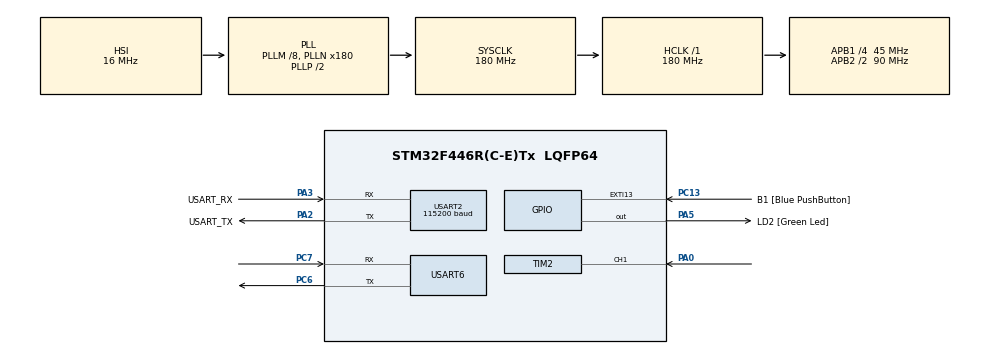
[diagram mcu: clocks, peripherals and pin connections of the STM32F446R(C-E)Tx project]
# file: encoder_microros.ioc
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Dma.Request0=USART6_RX
Dma.Request1=USART6_TX
Dma.USART6_RX.0.Direction=DMA_PERIPH_TO_MEMORY
Dma.USART6_RX.0.FIFOMode=DMA_FIFOMODE_DISABLE
Dma.USART6_RX.0.Instance=DMA2_Stream1
Dma.USART6_RX.0.MemDataAlignment=DMA_MDATAALIGN_BYTE
Dma.USART6_RX.0.MemInc=DMA_MINC_ENABLE
Dma.USART6_RX.0.Mode=DMA_NORMAL
Dma.USART6_RX.0.PeriphDataAlignment=DMA_PDATAALIGN_BYTE
Dma.USART6_RX.0.PeriphInc=DMA_PINC_DISABLE
Dma.USART6_RX.0.Priority=DMA_PRIORITY_VERY_HIGH
Dma.USART6_TX.1.Direction=DMA_MEMORY_TO_PERIPH
Dma.USART6_TX.1.FIFOMode=DMA_FIFOMODE_DISABLE
Dma.USART6_TX.1.Instance=DMA2_Stream6
Dma.USART6_TX.1.MemDataAlignment=DMA_MDATAALIGN_BYTE
Dma.USART6_TX.1.MemInc=DMA_MINC_ENABLE
Dma.USART6_TX.1.Mode=DMA_NORMAL
Dma.USART6_TX.1.PeriphDataAlignment=DMA_PDATAALIGN_BYTE
Dma.USART6_TX.1.PeriphInc=DMA_PINC_DISABLE
Dma.USART6_TX.1.Priority=DMA_PRIORITY_VERY_HIGH
FREERTOS.Tasks01=defaultTask,24,8000,StartDefaultTask,Default,NULL,Dynamic,NULL,NULL
FREERTOS.configTOTAL_HEAP_SIZE=40960
Mcu.Family=STM32F4
Mcu.Name=STM32F446R(C-E)Tx
Mcu.Package=LQFP64
NVIC.DMA2_Stream1_IRQn=true\:5\:0\:false\:false\:true\:true\:false\:true\:true
NVIC.DMA2_Stream6_IRQn=true\:5\:0\:false\:false\:true\:true\:false\:true\:true
NVIC.PriorityGroup=NVIC_PRIORITYGROUP_4
NVIC.TIM6_DAC_IRQn=true\:15\:0\:false\:false\:true\:false\:false\:true\:true
NVIC.TimeBase=TIM6_DAC_IRQn
NVIC.TimeBaseIP=TIM6
NVIC.USART6_IRQn=true\:5\:0\:false\:false\:true\:true\:true\:true\:true
PA0-WKUP.GPIO_PuPd=GPIO_PULLUP
PA0-WKUP.Signal=S_TIM2_CH1_ETR
PA13.GPIO_Label=TMS
PA13.Mode=Serial_Wire
PA13.Signal=SYS_JTMS-SWDIO
PA14.GPIO_Label=TCK
PA14.Mode=Serial_Wire
PA14.Signal=SYS_JTCK-SWCLK
PA2.GPIO_Label=USART_TX
PA2.Mode=Asynchronous
PA2.Signal=USART2_TX
PA3.GPIO_Label=USART_RX
PA3.Mode=Asynchronous
PA3.Signal=USART2_RX
PA5.GPIO_Label=LD2 [Green Led]
PA5.Signal=GPIO_Output
PB1.Signal=S_TIM3_CH4
PB3.GPIO_Label=SWO
PB3.Signal=SYS_JTDO-SWO
PC13.GPIO_Label=B1 [Blue PushButton]
PC13.GPIO_ModeDefaultEXTI=GPIO_MODE_IT_FALLING
PC13.Signal=GPXTI13
PC14-OSC32_IN.Mode=LSE-External-Oscillator
PC14-OSC32_IN.Signal=RCC_OSC32_IN
PC15-OSC32_OUT.Mode=LSE-External-Oscillator
PC15-OSC32_OUT.Signal=RCC_OSC32_OUT
PC6.Mode=Asynchronous
PC6.Signal=USART6_TX
PC7.Mode=Asynchronous
PC7.Signal=USART6_RX
PH0-OSC_IN.Mode=HSE-External-Oscillator
PH0-OSC_IN.Signal=RCC_OSC_IN
PH1-OSC_OUT.Mode=HSE-External-Oscillator
PH1-OSC_OUT.Signal=RCC_OSC_OUT
ProjectManager.HeapSize=0x200
ProjectManager.StackSize=0x400
ProjectManager.TargetToolchain=STM32CubeIDE
RCC.48MHZClocksFreq_Value=84000000
RCC.AHBFreq_Value=180000000
RCC.APB1CLKDivider=RCC_HCLK_DIV4
RCC.APB1Freq_Value=45000000
RCC.APB1TimFreq_Value=90000000
RCC.APB2CLKDivider=RCC_HCLK_DIV2
RCC.APB2Freq_Value=90000000
RCC.APB2TimFreq_Value=180000000
RCC.CortexFreq_Value=180000000
RCC.FLatency-AdvancedSettings=FLASH_LATENCY_5
RCC.HCLKFreq_Value=180000000
RCC.HSE_VALUE=8000000
RCC.HSI_VALUE=16000000
RCC.PLLM=8
RCC.PLLN=180
RCC.SYSCLKFreq_VALUE=180000000
RCC.SYSCLKSource=RCC_SYSCLKSOURCE_PLLCLK
RCC.USBFreq_Value=180000000
RCC.VCOOutputFreq_Value=360000000
SH.S_TIM2_CH1_ETR.0=TIM2_CH1,TriggerSource_TI1FP1
SH.S_TIM3_CH4.0=TIM3_CH4
TIM2.AutoReloadPreload=TIM_AUTORELOAD_PRELOAD_ENABLE
USART2.BaudRate=115200
USART2.VirtualMode=VM_ASYNC
USART6.VirtualMode=VM_ASYNC
VP_FREERTOS_VS_CMSIS_V2.Mode=CMSIS_V2
VP_SYS_VS_tim6.Mode=TIM6
VP_TIM2_VS_ControllerModeClock.Mode=Clock Mode
board=NUCLEO-F446RE

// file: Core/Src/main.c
/* USER CODE BEGIN Header */
/**
  ******************************************************************************
  * @file           : main.c
  * @brief          : ENCODER SPEED PUBLISHER (TIM2 - 32 BIT + UART6)
  ******************************************************************************
  */
/* USER CODE END Header */
#include "main.h"
#include "cmsis_os.h"

/* USER CODE BEGIN Includes */
#include <rcl/rcl.h>
#include <rcl/error_handling.h>
#include <rclc/rclc.h>
#include <rclc/executor.h>
#include <uxr/client/transport.h>
#include <rmw_microxrcedds_c/config.h>
#include <rmw_microros/rmw_microros.h>

#include <std_msgs/msg/float32.h>

#include <stdio.h>
#include <string.h>
#include <stdlib.h>
/* USER CODE END Includes */

/* USER CODE BEGIN PD */

#define RCCHECK(fn) { rcl_ret_t temp_rc = fn; if((temp_rc != RCL_RET_OK)){ \
    HAL_GPIO_TogglePin(GPIOA, GPIO_PIN_5); \
}}
/* USER CODE END PD */

TIM_HandleTypeDef htim2;

UART_HandleTypeDef huart2;
UART_HandleTypeDef huart6;
DMA_HandleTypeDef hdma_usart6_rx;
DMA_HandleTypeDef hdma_usart6_tx;

/* Definitions for defaultTask */
osThreadId_t defaultTaskHandle;
const osThreadAttr_t defaultTask_attributes = {
  .name = "defaultTask",
  .stack_size = 3000 * 4,
  .priority = (osPriority_t) osPriorityNormal,
};
/* USER CODE BEGIN PV */
// --- ENCODER DEĞİŞKENLERİ (32-Bit) ---
uint32_t onceki_sayac = 0;
uint32_t suanki_sayac = 0;
uint32_t fark = 0;

#define DISK_DELIK_SAYISI 20

#define FILTRE_BOYUTU 5
float hiz_gecmisi[FILTRE_BOYUTU] = {0};
int filtre_indeksi = 0;

uint32_t last_measure_time = 0;

rcl_publisher_t publisher_speed;
std_msgs__msg__Float32 msg_speed;
/* USER CODE END PV */

void SystemClock_Config(void);
static void MX_GPIO_Init(void);
static void MX_DMA_Init(void);
static void MX_USART2_UART_Init(void);
static void MX_USART6_UART_Init(void);
static void MX_TIM2_Init(void);
void StartDefaultTask(void *argument);

/* USER CODE BEGIN PFP */
bool cubemx_transport_open(struct uxrCustomTransport * transport);
bool cubemx_transport_close(struct uxrCustomTransport * transport);
size_t cubemx_transport_write(struct uxrCustomTransport* transport, const uint8_t * buf, size_t len, uint8_t * err);
size_t cubemx_transport_read(struct uxrCustomTransport* transport, uint8_t* buf, size_t len, int timeout, uint8_t* err);

void * microros_allocate(size_t size, void * state);
void microros_deallocate(void * pointer, void * state);
void * microros_reallocate(void * pointer, size_t size, void * state);
void * microros_zero_allocate(size_t number_of_elements, size_t size_of_element, void * state);
/* USER CODE END PFP */

/* USER CODE BEGIN 0 */
void HAL_UART_ErrorCallback(UART_HandleTypeDef *huart)
{
    if (huart->Instance == USART2 || huart->Instance == USART6)
    {
        __HAL_UART_CLEAR_OREFLAG(huart);
        __HAL_UART_CLEAR_NEFLAG(huart);
        __HAL_UART_CLEAR_FEFLAG(huart);
    }
}
/* USER CODE END 0 */

int main(void)
{

  /* MCU Configuration--------------------------------------------------------*/
  HAL_Init();

  /* Configure the system clock */
  SystemClock_Config();

  /* Initialize all configured peripherals */
  MX_GPIO_Init();
  MX_DMA_Init();
  MX_USART2_UART_Init();
  MX_USART6_UART_Init();
  MX_TIM2_Init(); // <-- TIM2 Başlatılıyor

  /* Init scheduler */
  osKernelInitialize();

  /* Create the thread(s) */
  defaultTaskHandle = osThreadNew(StartDefaultTask, NULL, &defaultTask_attributes);

  /* Start scheduler */
  osKernelStart();

  /* We should never get here as control is now taken by the scheduler */
  while (1)
  {
  }
}

void SystemClock_Config(void)
{
  RCC_OscInitTypeDef RCC_OscInitStruct = {0};
  RCC_ClkInitTypeDef RCC_ClkInitStruct = {0};

  /** Configure the main internal regulator output voltage */
  __HAL_RCC_PWR_CLK_ENABLE();
  __HAL_PWR_VOLTAGESCALING_CONFIG(PWR_REGULATOR_VOLTAGE_SCALE1);

  /** Initializes the RCC Oscillators */
  RCC_OscInitStruct.OscillatorType = RCC_OSCILLATORTYPE_HSI;
  RCC_OscInitStruct.HSIState = RCC_HSI_ON;
  RCC_OscInitStruct.HSICalibrationValue = RCC_HSICALIBRATION_DEFAULT;
  RCC_OscInitStruct.PLL.PLLState = RCC_PLL_ON;
  RCC_OscInitStruct.PLL.PLLSource = RCC_PLLSOURCE_HSI;
  RCC_OscInitStruct.PLL.PLLM = 8;
  RCC_OscInitStruct.PLL.PLLN = 180;
  RCC_OscInitStruct.PLL.PLLP = RCC_PLLP_DIV2;
  RCC_OscInitStruct.PLL.PLLQ = 2;
  RCC_OscInitStruct.PLL.PLLR = 2;
  if (HAL_RCC_OscConfig(&RCC_OscInitStruct) != HAL_OK)
  {
    Error_Handler();
  }

  /** Activate the Over-Drive mode */
  if (HAL_PWREx_EnableOverDrive() != HAL_OK)
  {
    Error_Handler();
  }

  /** Initializes the CPU, AHB and APB buses clocks */
  RCC_ClkInitStruct.ClockType = RCC_CLOCKTYPE_HCLK|RCC_CLOCKTYPE_SYSCLK
                              |RCC_CLOCKTYPE_PCLK1|RCC_CLOCKTYPE_PCLK2;
  RCC_ClkInitStruct.SYSCLKSource = RCC_SYSCLKSOURCE_PLLCLK;
  RCC_ClkInitStruct.AHBCLKDivider = RCC_SYSCLK_DIV1;
  RCC_ClkInitStruct.APB1CLKDivider = RCC_HCLK_DIV4;
  RCC_ClkInitStruct.APB2CLKDivider = RCC_HCLK_DIV2;

  if (HAL_RCC_ClockConfig(&RCC_ClkInitStruct, FLASH_LATENCY_5) != HAL_OK)
  {
    Error_Handler();
  }
}

static void MX_TIM2_Init(void)
{
  TIM_ClockConfigTypeDef sClockSourceConfig = {0};
  TIM_MasterConfigTypeDef sMasterConfig = {0};
  TIM_SlaveConfigTypeDef sSlaveConfig = {0};

  htim2.Instance = TIM2;
  htim2.Init.Prescaler = 0;
  htim2.Init.CounterMode = TIM_COUNTERMODE_UP;
  // TIM2 32-bit olduğu için tam kapasite (4 Milyar)
  htim2.Init.Period = 4294967295;
  htim2.Init.ClockDivision = TIM_CLOCKDIVISION_DIV1;
  htim2.Init.AutoReloadPreload = TIM_AUTORELOAD_PRELOAD_DISABLE;
  if (HAL_TIM_Base_Init(&htim2) != HAL_OK)
  {
    Error_Handler();
  }
  sClockSourceConfig.ClockSource = TIM_CLOCKSOURCE_INTERNAL;
  if (HAL_TIM_ConfigClockSource(&htim2, &sClockSourceConfig) != HAL_OK)
  {
    Error_Handler();
  }

  sSlaveConfig.SlaveMode = TIM_SLAVEMODE_EXTERNAL1;
  sSlaveConfig.InputTrigger = TIM_TS_TI1FP1;
  sSlaveConfig.TriggerPolarity = TIM_TRIGGERPOLARITY_RISING;
  sSlaveConfig.TriggerFilter = 0;
  if (HAL_TIM_SlaveConfigSynchro(&htim2, &sSlaveConfig) != HAL_OK)
  {
    Error_Handler();
  }

  sMasterConfig.MasterOutputTrigger = TIM_TRGO_RESET;
  sMasterConfig.MasterSlaveMode = TIM_MASTERSLAVEMODE_DISABLE;
  if (HAL_TIMEx_MasterConfigSynchronization(&htim2, &sMasterConfig) != HAL_OK)
  {
    Error_Handler();
  }
}

static void MX_USART2_UART_Init(void)
{
  huart2.Instance = USART2;
  huart2.Init.BaudRate = 115200;
  huart2.Init.WordLength = UART_WORDLENGTH_8B;
  huart2.Init.StopBits = UART_STOPBITS_1;
  huart2.Init.Parity = UART_PARITY_NONE;
  huart2.Init.Mode = UART_MODE_TX_RX;
  huart2.Init.HwFlowCtl = UART_HWCONTROL_NONE;
  huart2.Init.OverSampling = UART_OVERSAMPLING_16;
  if (HAL_UART_Init(&huart2) != HAL_OK)
  {
    Error_Handler();
  }
}

static void MX_USART6_UART_Init(void)
{
  huart6.Instance = USART6;
  huart6.Init.BaudRate = 115200;
  huart6.Init.WordLength = UART_WORDLENGTH_8B;
  huart6.Init.StopBits = UART_STOPBITS_1;
  huart6.Init.Parity = UART_PARITY_NONE;
  huart6.Init.Mode = UART_MODE_TX_RX;
  huart6.Init.HwFlowCtl = UART_HWCONTROL_NONE;
  huart6.Init.OverSampling = UART_OVERSAMPLING_16;
  if (HAL_UART_Init(&huart6) != HAL_OK)
  {
    Error_Handler();
  }
}

static void MX_DMA_Init(void)
{
  __HAL_RCC_DMA2_CLK_ENABLE();
  HAL_NVIC_SetPriority(DMA2_Stream1_IRQn, 5, 0);
  HAL_NVIC_EnableIRQ(DMA2_Stream1_IRQn);
  HAL_NVIC_SetPriority(DMA2_Stream6_IRQn, 5, 0);
  HAL_NVIC_EnableIRQ(DMA2_Stream6_IRQn);
}

static void MX_GPIO_Init(void)
{
  GPIO_InitTypeDef GPIO_InitStruct = {0};
  __HAL_RCC_GPIOC_CLK_ENABLE();
  __HAL_RCC_GPIOH_CLK_ENABLE();
  __HAL_RCC_GPIOA_CLK_ENABLE();
  __HAL_RCC_GPIOB_CLK_ENABLE();

  HAL_GPIO_WritePin(LD2_GPIO_Port, LD2_Pin, GPIO_PIN_RESET);

  GPIO_InitStruct.Pin = B1_Pin;
  GPIO_InitStruct.Mode = GPIO_MODE_IT_FALLING;
  GPIO_InitStruct.Pull = GPIO_NOPULL;
  HAL_GPIO_Init(B1_GPIO_Port, &GPIO_InitStruct);

  GPIO_InitStruct.Pin = LD2_Pin;
  GPIO_InitStruct.Mode = GPIO_MODE_OUTPUT_PP;
  GPIO_InitStruct.Pull = GPIO_NOPULL;
  GPIO_InitStruct.Speed = GPIO_SPEED_FREQ_LOW;
  HAL_GPIO_Init(LD2_GPIO_Port, &GPIO_InitStruct);
}

/* USER CODE BEGIN Header_StartDefaultTask */
void StartDefaultTask(void *argument)
{
  /* USER CODE BEGIN 5 */

  rmw_uros_set_custom_transport(
    true,
    (void *) &huart6,
    cubemx_transport_open,
    cubemx_transport_close,
    cubemx_transport_write,
    cubemx_transport_read);

  rcl_allocator_t freeRTOS_allocator = rcutils_get_zero_initialized_allocator();
  freeRTOS_allocator.allocate = microros_allocate;
  freeRTOS_allocator.deallocate = microros_deallocate;
  freeRTOS_allocator.reallocate = microros_reallocate;
  freeRTOS_allocator.zero_allocate =  microros_zero_allocate;

  if (!rcutils_set_default_allocator(&freeRTOS_allocator)) {
  }

  rclc_support_t support;
  rcl_allocator_t allocator;
  rcl_node_t node;
  rclc_executor_t executor;

  allocator = rcl_get_default_allocator();

  RCCHECK(rclc_support_init(&support, 0, NULL, &allocator));
  RCCHECK(rclc_node_init_default(&node, "stm32_encoder_node", "", &support));

  RCCHECK(rclc_publisher_init_best_effort(
      &publisher_speed,
      &node,
      ROSIDL_GET_MSG_TYPE_SUPPORT(std_msgs, msg, Float32),
      "wheel_speed"));

  executor = rclc_executor_get_zero_initialized_executor();
  RCCHECK(rclc_executor_init(&executor, &support.context, 0, &allocator));

  HAL_TIM_Base_Start(&htim2);
  for(;;)
  {
    // LED TEST: Döngü yaşıyor mu?
    HAL_GPIO_TogglePin(GPIOA, GPIO_PIN_5);

    // Micro-ROS ile konuş
    rclc_executor_spin_some(&executor, RCL_MS_TO_NS(1000000));

    // HIZ ÖLÇÜMÜ (100 ms periyotla)
    if (HAL_GetTick() - last_measure_time >= 100)
    {
        // 1. Sayacı Oku (TIM2 - 32 Bit)
        // Artık cast işlemine gerek yok, çünkü TIM2 32 bit.
        suanki_sayac = __HAL_TIM_GET_COUNTER(&htim2);

        // 2. Farkı Hesapla (32-Bit Unsigned Matematik)
        // Eğer sayaç 4 Milyar'dan 0'a dönerse bile bu işlem (unsigned olduğu için)
        // otomatik olarak doğru farkı verir.
        fark = suanki_sayac - onceki_sayac;
        onceki_sayac = suanki_sayac;

        // 3. RPM Hesabı
        float saniyedeki_tur = (float)fark / DISK_DELIK_SAYISI;
        float ham_rpm = saniyedeki_tur * 10.0 * 60.0;

        // 4. Filtreleme
        hiz_gecmisi[filtre_indeksi] = ham_rpm;
        filtre_indeksi = (filtre_indeksi + 1) % FILTRE_BOYUTU;
        float toplam = 0;
        for (int i = 0; i < FILTRE_BOYUTU; i++) {
            toplam += hiz_gecmisi[i];
        }

        // 5. Veriyi Gönder
        msg_speed.data = toplam / FILTRE_BOYUTU;

        // Yayınla
        rcl_publish(&publisher_speed, &msg_speed, NULL);

        last_measure_time = HAL_GetTick();
    }

    osDelay(10);
  }
  /* USER CODE END 5 */
}

void HAL_TIM_PeriodElapsedCallback(TIM_HandleTypeDef *htim)
{
  if (htim->Instance == TIM6)
  {
    HAL_IncTick();
  }
}

void Error_Handler(void)
{
  __disable_irq();
  while (1)
  {
  }
}
